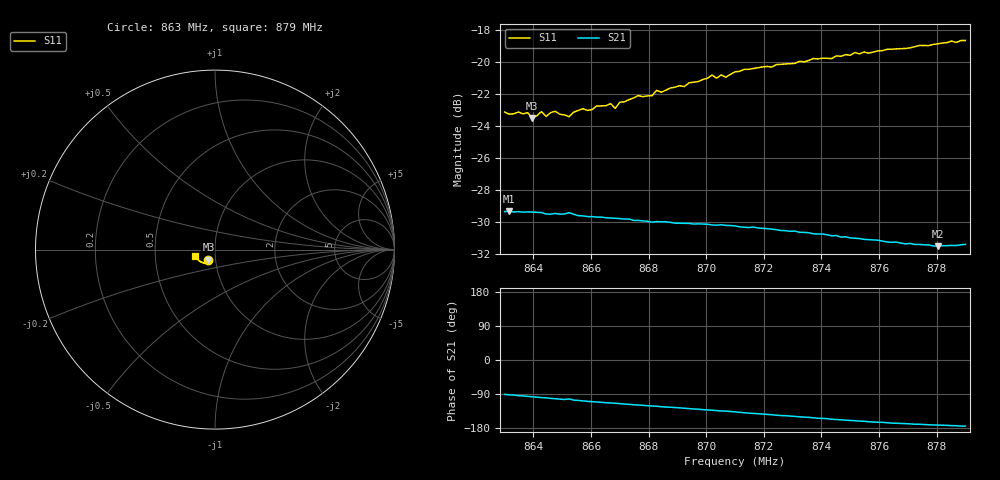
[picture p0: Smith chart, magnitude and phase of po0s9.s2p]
# HZ S RI R 50
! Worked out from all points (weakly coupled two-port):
!   101 points, 863 MHz to 879 MHz, reference 50 ohm
!   highest |S21| = -29.31 dB at 863.16 MHz (marker M1); lowest = -31.5 dB at 878.04 MHz (marker M2)
!   lowest |S11| = -23.5 dB at 863.96 MHz (marker M3), VSWR 1.14, Z = 46.2 - j5.18 ohm
!   |S11| at or under -10 dB: start of sweep to end of sweep
!   S12 and S22 are empty: the file has one direction only
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8.63e8  -0.0407 -0.0567  -0.000454 -0.0341  0 0  0 0
8.6316e8  -0.0403 -0.0557  -0.00119 -0.0342  0 0  0 0
8.638e8  -0.0385 -0.0579  -0.00354 -0.0339  0 0  0 0
8.6396e8  -0.0367 -0.0559  -0.00422 -0.0338  0 0  0 0
8.6428e8  -0.0362 -0.06  -0.00536 -0.0335  0 0  0 0
8.6444e8  -0.0362 -0.0571  -0.00581 -0.0331  0 0  0 0
8.6476e8  -0.0362 -0.0601  -0.00713 -0.0329  0 0  0 0
8.6524e8  -0.03 -0.0605  -0.00742 -0.0331  0 0  0 0
8.6572e8  -0.0345 -0.0627  -0.0102 -0.0315  0 0  0 0
8.6668e8  -0.034 -0.066  -0.0129 -0.03  0 0  0 0
8.6684e8  -0.0356 -0.0622  -0.0133 -0.0297  0 0  0 0
8.67e8  -0.0343 -0.0666  -0.0138 -0.0294  0 0  0 0
8.6764e8  -0.0368 -0.0694  -0.0154 -0.0281  0 0  0 0
8.6828e8  -0.0377 -0.0724  -0.0169 -0.027  0 0  0 0
8.6844e8  -0.0378 -0.071  -0.0174 -0.0265  0 0  0 0
8.702e8  -0.0483 -0.0773  -0.021 -0.0229  0 0  0 0
8.7068e8  -0.0499 -0.0745  -0.0218 -0.0219  0 0  0 0
8.71e8  -0.0537 -0.0761  -0.0225 -0.0211  0 0  0 0
8.7372e8  -0.0731 -0.0719  -0.0258 -0.0135  0 0  0 0
8.7644e8  -0.0933 -0.0575  -0.0266 -0.00636  0 0  0 0
8.7804e8  -0.1042 -0.046  -0.0264 -0.00388  0 0  0 0
8.79e8  -0.1103 -0.0383  -0.0269 -0.00259  0 0  0 0
